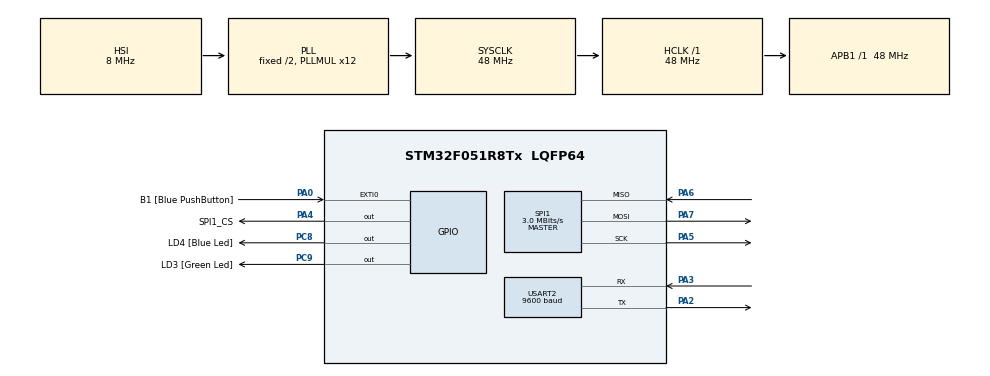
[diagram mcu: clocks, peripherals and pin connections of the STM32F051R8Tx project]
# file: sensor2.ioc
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Dma.Request0=USART2_RX
Dma.Request1=USART2_TX
Dma.USART2_RX.0.Direction=DMA_PERIPH_TO_MEMORY
Dma.USART2_RX.0.Instance=DMA1_Channel5
Dma.USART2_RX.0.MemDataAlignment=DMA_MDATAALIGN_BYTE
Dma.USART2_RX.0.MemInc=DMA_MINC_ENABLE
Dma.USART2_RX.0.Mode=DMA_NORMAL
Dma.USART2_RX.0.PeriphDataAlignment=DMA_PDATAALIGN_BYTE
Dma.USART2_RX.0.PeriphInc=DMA_PINC_DISABLE
Dma.USART2_RX.0.Priority=DMA_PRIORITY_LOW
Dma.USART2_TX.1.Direction=DMA_MEMORY_TO_PERIPH
Dma.USART2_TX.1.Instance=DMA1_Channel4
Dma.USART2_TX.1.MemDataAlignment=DMA_MDATAALIGN_BYTE
Dma.USART2_TX.1.MemInc=DMA_MINC_ENABLE
Dma.USART2_TX.1.Mode=DMA_NORMAL
Dma.USART2_TX.1.PeriphDataAlignment=DMA_PDATAALIGN_BYTE
Dma.USART2_TX.1.PeriphInc=DMA_PINC_DISABLE
Dma.USART2_TX.1.Priority=DMA_PRIORITY_LOW
Mcu.Family=STM32F0
Mcu.Name=STM32F051R8Tx
Mcu.Package=LQFP64
NVIC.DMA1_Channel4_5_IRQn=true\:0\:0\:false\:false\:true\:false\:true\:true
NVIC.USART2_IRQn=true\:0\:0\:false\:false\:true\:true\:true\:true
PA0.GPIO_Label=B1 [Blue PushButton]
PA0.GPIO_ModeDefaultEXTI=GPIO_MODE_EVT_RISING
PA0.Signal=GPXTI0
PA13.GPIO_Label=SWDIO
PA13.Mode=Serial_Wire
PA13.Signal=SYS_SWDIO
PA14.GPIO_Label=SWCLK
PA14.Mode=Serial_Wire
PA14.Signal=SYS_SWCLK
PA2.Mode=Asynchronous
PA2.Signal=USART2_TX
PA3.Mode=Asynchronous
PA3.Signal=USART2_RX
PA4.GPIO_Label=SPI1_CS
PA4.GPIO_Speed=GPIO_SPEED_FREQ_HIGH
PA4.PinState=GPIO_PIN_SET
PA4.Signal=GPIO_Output
PA5.Mode=Full_Duplex_Master
PA5.Signal=SPI1_SCK
PA6.Mode=Full_Duplex_Master
PA6.Signal=SPI1_MISO
PA7.Mode=Full_Duplex_Master
PA7.Signal=SPI1_MOSI
PC8.GPIO_Label=LD4 [Blue Led]
PC8.Signal=GPIO_Output
PC9.GPIO_Label=LD3 [Green Led]
PC9.Signal=GPIO_Output
ProjectManager.HeapSize=0x200
ProjectManager.StackSize=0x400
ProjectManager.TargetToolchain=STM32CubeIDE
RCC.AHBFreq_Value=48000000
RCC.APB1Freq_Value=48000000
RCC.APB1TimFreq_Value=48000000
RCC.HCLKFreq_Value=48000000
RCC.PLLMUL=RCC_PLL_MUL12
RCC.SYSCLKFreq_VALUE=48000000
RCC.SYSCLKSource=RCC_SYSCLKSOURCE_PLLCLK
SPI1.BaudRatePrescaler=SPI_BAUDRATEPRESCALER_16
SPI1.CLKPhase=SPI_PHASE_2EDGE
SPI1.CLKPolarity=SPI_POLARITY_HIGH
SPI1.CalculateBaudRate=3.0 MBits/s
SPI1.DataSize=SPI_DATASIZE_8BIT
SPI1.Direction=SPI_DIRECTION_2LINES
SPI1.Mode=SPI_MODE_MASTER
SPI1.VirtualType=VM_MASTER
USART2.BaudRate=9600
USART2.VirtualMode-Asynchronous=VM_ASYNC
VP_CRC_VS_CRC.Mode=CRC_Activate
board=STM32F0DISCOVERY

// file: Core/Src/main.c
/* USER CODE BEGIN Header */
/**
  ******************************************************************************
  * @file           : main.c
  * @brief          : Main program body
  ******************************************************************************
  * @attention
  *
  * Copyright (c) 2022 STMicroelectronics.
  * All rights reserved.
  *
  * This software is licensed under terms that can be found in the LICENSE file
  * in the root directory of this software component.
  * If no LICENSE file comes with this software, it is provided AS-IS.
  *
  ******************************************************************************
  */
/* USER CODE END Header */
#include "main.h"

/* USER CODE BEGIN Includes */
#include "icm20948.h"
#include "crypto.h"

/* USER CODE END Includes */

/* USER CODE BEGIN PTD */
typedef enum {FAILED = 0, PASSED = !FAILED} TestStatus;
/* USER CODE END PTD */

/* USER CODE BEGIN PD */
#define PLAINTEXT_LENGTH 16
/* USER CODE END PD */

CRC_HandleTypeDef hcrc;

SPI_HandleTypeDef hspi1;

UART_HandleTypeDef huart2;
DMA_HandleTypeDef hdma_usart2_rx;
DMA_HandleTypeDef hdma_usart2_tx;

/* USER CODE BEGIN PV */
axises my_gyro;
axises my_accel;
axises my_mag;
float Temp;
char buffer[100];

const uint8_t Plaintext[PLAINTEXT_LENGTH] =
  {
		  "0.555569"
  };
/* Key to be used for AES encryption/decryption */
uint8_t Key[CRL_AES128_KEY] =
  {
    0x2b, 0x7e, 0x15, 0x16, 0x28, 0xae, 0xd2, 0xa6,
    0xab, 0xf7, 0x15, 0x88, 0x09, 0xcf, 0x4f, 0x3c
  };

/* Initialization Vector, used only in non-ECB modes */
uint8_t IV[CRL_AES_BLOCK] =
  {
      0x00, 0x01, 0x02, 0x03, 0x04, 0x05, 0x06, 0x07,
      0x08, 0x09, 0x0a, 0x0b, 0x0c, 0x0d, 0x0e, 0x0f
  };

uint8_t cipher[PLAINTEXT_LENGTH];

/* Buffer to store the output data */
uint8_t OutputMessage[PLAINTEXT_LENGTH];

/* Size of the output data */
uint32_t OutputMessageLength = 0;
/* USER CODE END PV */

void SystemClock_Config(void);
static void MX_GPIO_Init(void);
static void MX_DMA_Init(void);
static void MX_CRC_Init(void);
static void MX_USART2_UART_Init(void);
static void MX_SPI1_Init(void);
/* USER CODE BEGIN PFP */
int32_t STM32_AES_CFB_Encrypt(uint8_t*  InputMessage,
                        uint32_t  InputMessageLength,
                        uint8_t  *AES128_Key,
                        uint8_t  *InitializationVector,
                        uint32_t  IvLength,
                        uint8_t  *OutputMessage,
                        uint32_t *OutputMessageLength);

int32_t STM32_AES_CFB_Decrypt(uint8_t*  InputMessage,
                        uint32_t  InputMessageLength,
                        uint8_t  *AES128_Key,
                        uint8_t  *InitializationVector,
                        uint32_t  IvLength,
                        uint8_t  *OutputMessage,
                        uint32_t *OutputMessageLength);

TestStatus Buffercmp(const uint8_t* pBuffer,
                     uint8_t* pBuffer1,
                     uint16_t BufferLength);

/* USER CODE END PFP */

int main(void)
{

  /* MCU Configuration--------------------------------------------------------*/

  /* Reset of all peripherals, Initializes the Flash interface and the Systick. */
  HAL_Init();

  /* Configure the system clock */
  SystemClock_Config();

  /* Initialize all configured peripherals */
  MX_GPIO_Init();
  MX_DMA_Init();
  MX_CRC_Init();
  MX_USART2_UART_Init();
  MX_SPI1_Init();
  /* USER CODE BEGIN 2 */
  //HAL_UART_Transmit(&huart2, "Hello \n", 10, 1000);
  icm20948_init();
  ak09916_init();
  /* USER CODE END 2 */

  /* Infinite loop */
  /* USER CODE BEGIN WHILE */
  while (1)
  {

	icm20948_gyro_read_dps(&my_gyro);
	icm20948_accel_read_g(&my_accel);
	//icm20948_accel_read(&my_accel);
	ak09916_mag_read(&my_mag);
	uint32_t timeNow = (float) HAL_GetTick();
	//sprintf(buffer, "%f,%f,%f,%f \r\n",timeNow, my_gyro.x,my_gyro.y,my_gyro.z);
	//sprintf(buffer,"%f,%f,%f,%f \r\n",timeNow,my_accel.x,my_accel.y,my_accel.z);
	sprintf(buffer,"%f,%f,%f,%f \n",timeNow,my_gyro.x,my_gyro.y,my_gyro.z);
	HAL_UART_Transmit(&huart2, buffer, sizeof(buffer), 1000);
	HAL_Delay(500);
    /* USER CODE END WHILE */

  }
}

void SystemClock_Config(void)
{
  RCC_OscInitTypeDef RCC_OscInitStruct = {0};
  RCC_ClkInitTypeDef RCC_ClkInitStruct = {0};

  /** Initializes the RCC Oscillators according to the specified parameters
  * in the RCC_OscInitTypeDef structure.
  */
  RCC_OscInitStruct.OscillatorType = RCC_OSCILLATORTYPE_HSI;
  RCC_OscInitStruct.HSIState = RCC_HSI_ON;
  RCC_OscInitStruct.HSICalibrationValue = RCC_HSICALIBRATION_DEFAULT;
  RCC_OscInitStruct.PLL.PLLState = RCC_PLL_ON;
  RCC_OscInitStruct.PLL.PLLSource = RCC_PLLSOURCE_HSI;
  RCC_OscInitStruct.PLL.PLLMUL = RCC_PLL_MUL12;
  RCC_OscInitStruct.PLL.PREDIV = RCC_PREDIV_DIV1;
  if (HAL_RCC_OscConfig(&RCC_OscInitStruct) != HAL_OK)
  {
    Error_Handler();
  }

  /** Initializes the CPU, AHB and APB buses clocks
  */
  RCC_ClkInitStruct.ClockType = RCC_CLOCKTYPE_HCLK|RCC_CLOCKTYPE_SYSCLK
                              |RCC_CLOCKTYPE_PCLK1;
  RCC_ClkInitStruct.SYSCLKSource = RCC_SYSCLKSOURCE_PLLCLK;
  RCC_ClkInitStruct.AHBCLKDivider = RCC_SYSCLK_DIV1;
  RCC_ClkInitStruct.APB1CLKDivider = RCC_HCLK_DIV1;

  if (HAL_RCC_ClockConfig(&RCC_ClkInitStruct, FLASH_LATENCY_1) != HAL_OK)
  {
    Error_Handler();
  }
}

static void MX_CRC_Init(void)
{

  hcrc.Instance = CRC;
  hcrc.Init.DefaultInitValueUse = DEFAULT_INIT_VALUE_ENABLE;
  hcrc.Init.InputDataInversionMode = CRC_INPUTDATA_INVERSION_NONE;
  hcrc.Init.OutputDataInversionMode = CRC_OUTPUTDATA_INVERSION_DISABLE;
  hcrc.InputDataFormat = CRC_INPUTDATA_FORMAT_BYTES;
  if (HAL_CRC_Init(&hcrc) != HAL_OK)
  {
    Error_Handler();
  }

}

static void MX_SPI1_Init(void)
{

  /* SPI1 parameter configuration*/
  hspi1.Instance = SPI1;
  hspi1.Init.Mode = SPI_MODE_MASTER;
  hspi1.Init.Direction = SPI_DIRECTION_2LINES;
  hspi1.Init.DataSize = SPI_DATASIZE_8BIT;
  hspi1.Init.CLKPolarity = SPI_POLARITY_HIGH;
  hspi1.Init.CLKPhase = SPI_PHASE_2EDGE;
  hspi1.Init.NSS = SPI_NSS_SOFT;
  hspi1.Init.BaudRatePrescaler = SPI_BAUDRATEPRESCALER_16;
  hspi1.Init.FirstBit = SPI_FIRSTBIT_MSB;
  hspi1.Init.TIMode = SPI_TIMODE_DISABLE;
  hspi1.Init.CRCCalculation = SPI_CRCCALCULATION_DISABLE;
  hspi1.Init.CRCPolynomial = 7;
  hspi1.Init.CRCLength = SPI_CRC_LENGTH_DATASIZE;
  hspi1.Init.NSSPMode = SPI_NSS_PULSE_DISABLE;
  if (HAL_SPI_Init(&hspi1) != HAL_OK)
  {
    Error_Handler();
  }

}

static void MX_USART2_UART_Init(void)
{

  huart2.Instance = USART2;
  huart2.Init.BaudRate = 9600;
  huart2.Init.WordLength = UART_WORDLENGTH_8B;
  huart2.Init.StopBits = UART_STOPBITS_1;
  huart2.Init.Parity = UART_PARITY_NONE;
  huart2.Init.Mode = UART_MODE_TX_RX;
  huart2.Init.HwFlowCtl = UART_HWCONTROL_NONE;
  huart2.Init.OverSampling = UART_OVERSAMPLING_16;
  huart2.Init.OneBitSampling = UART_ONE_BIT_SAMPLE_DISABLE;
  huart2.AdvancedInit.AdvFeatureInit = UART_ADVFEATURE_NO_INIT;
  if (HAL_UART_Init(&huart2) != HAL_OK)
  {
    Error_Handler();
  }

}

static void MX_DMA_Init(void)
{

  /* DMA controller clock enable */
  __HAL_RCC_DMA1_CLK_ENABLE();

  /* DMA interrupt init */
  /* DMA1_Channel4_5_IRQn interrupt configuration */
  HAL_NVIC_SetPriority(DMA1_Channel4_5_IRQn, 0, 0);
  HAL_NVIC_EnableIRQ(DMA1_Channel4_5_IRQn);

}

static void MX_GPIO_Init(void)
{
  GPIO_InitTypeDef GPIO_InitStruct = {0};

  /* GPIO Ports Clock Enable */
  __HAL_RCC_GPIOA_CLK_ENABLE();
  __HAL_RCC_GPIOC_CLK_ENABLE();

  /*Configure GPIO pin Output Level */
  HAL_GPIO_WritePin(SPI1_CS_GPIO_Port, SPI1_CS_Pin, GPIO_PIN_SET);

  /*Configure GPIO pin Output Level */
  HAL_GPIO_WritePin(GPIOC, LD4_Pin|LD3_Pin, GPIO_PIN_RESET);

  /*Configure GPIO pin : B1_Pin */
  GPIO_InitStruct.Pin = B1_Pin;
  GPIO_InitStruct.Mode = GPIO_MODE_EVT_RISING;
  GPIO_InitStruct.Pull = GPIO_NOPULL;
  HAL_GPIO_Init(B1_GPIO_Port, &GPIO_InitStruct);

  /*Configure GPIO pin : SPI1_CS_Pin */
  GPIO_InitStruct.Pin = SPI1_CS_Pin;
  GPIO_InitStruct.Mode = GPIO_MODE_OUTPUT_PP;
  GPIO_InitStruct.Pull = GPIO_NOPULL;
  GPIO_InitStruct.Speed = GPIO_SPEED_FREQ_HIGH;
  HAL_GPIO_Init(SPI1_CS_GPIO_Port, &GPIO_InitStruct);

  /*Configure GPIO pins : LD4_Pin LD3_Pin */
  GPIO_InitStruct.Pin = LD4_Pin|LD3_Pin;
  GPIO_InitStruct.Mode = GPIO_MODE_OUTPUT_PP;
  GPIO_InitStruct.Pull = GPIO_NOPULL;
  GPIO_InitStruct.Speed = GPIO_SPEED_FREQ_LOW;
  HAL_GPIO_Init(GPIOC, &GPIO_InitStruct);

}

/* USER CODE BEGIN 4 */
/**
  * @brief  AES CFB Encryption example.
  * @param  InputMessage: pointer to input message to be encrypted.
  * @param  InputMessageLength: input data message length in byte.
  * @param  AES128_Key: pointer to the AES key to be used in the operation
  * @param  InitializationVector: pointer to the Initialization Vector (IV)
  * @param  IvLength: IV length in bytes.
  * @param  OutputMessage: pointer to output parameter that will handle the encrypted message
  * @param  OutputMessageLength: pointer to encrypted message length.
  * @retval error status: can be AES_SUCCESS if success or one of
  *         AES_ERR_BAD_CONTEXT, AES_ERR_BAD_PARAMETER, AES_ERR_BAD_OPERATION
  *         if error occured.
  */
int32_t STM32_AES_CFB_Encrypt(uint8_t* InputMessage,
                        uint32_t InputMessageLength,
                        uint8_t  *AES128_Key,
                        uint8_t  *InitializationVector,
                        uint32_t  IvLength,
                        uint8_t  *OutputMessage,
                        uint32_t *OutputMessageLength)
{
  AESECBctx_stt AESctx;

  uint32_t error_status = AES_SUCCESS;

  int32_t outputLength = 0;

  /* Set flag field to default value */
  AESctx.mFlags = E_SK_DEFAULT;

  /* Set key size to 16 (corresponding to AES-128) */
  AESctx.mKeySize = 16;

  /* Set iv size field to IvLength*/
  AESctx.mIvSize = IvLength;

  /* Initialize the operation, by passing the key.*/
  error_status = AES_CFB_Encrypt_Init(&AESctx, AES128_Key, InitializationVector );

  /* check for initialization errors */
  if (error_status == AES_SUCCESS)
  {
    /* Encrypt Data */
    error_status = AES_CFB_Encrypt_Append(&AESctx,
                                          InputMessage,
                                          InputMessageLength,
                                          OutputMessage,
                                          &outputLength);

    if (error_status == AES_SUCCESS)
    {
      /* Write the number of data written*/
      *OutputMessageLength = outputLength;
      /* Do the Finalization */
      error_status = AES_CFB_Encrypt_Finish(&AESctx, OutputMessage + *OutputMessageLength, &outputLength);
      /* Add data written to the information to be returned */
      *OutputMessageLength += outputLength;
    }
  }

  return error_status;
}

/**
  * @brief  AES CFB Decryption example.
  * @param  InputMessage: pointer to input message to be decrypted.
  * @param  InputMessageLength: input data message length in byte.
  * @param  AES128_Key: pointer to the AES key to be used in the operation
  * @param  InitializationVector: pointer to the Initialization Vector (IV)
  * @param  IvLength: IV length in bytes.
  * @param  OutputMessage: pointer to output parameter that will handle the decrypted message
  * @param  OutputMessageLength: pointer to decrypted message length.
  * @retval error status: can be AES_SUCCESS if success or one of
  *         AES_ERR_BAD_CONTEXT, AES_ERR_BAD_PARAMETER, AES_ERR_BAD_OPERATION
  *         if error occured.
  */
int32_t STM32_AES_CFB_Decrypt(uint8_t* InputMessage,
                        uint32_t InputMessageLength,
                        uint8_t  *AES128_Key,
                        uint8_t  *InitializationVector,
                        uint32_t  IvLength,
                        uint8_t  *OutputMessage,
                        uint32_t *OutputMessageLength)
{
  AESECBctx_stt AESctx;

  uint32_t error_status = AES_SUCCESS;

  int32_t outputLength = 0;

  /* Set flag field to default value */
  AESctx.mFlags = E_SK_DEFAULT;

  /* Set key size to 16 (corresponding to AES-128) */
  AESctx.mKeySize = 16;

  /* Set iv size field to IvLength*/
  AESctx.mIvSize = IvLength;

  /* Initialize the operation, by passing the key. */
  error_status = AES_CFB_Decrypt_Init(&AESctx, AES128_Key, InitializationVector );

  /* check for initialization errors */
  if (error_status == AES_SUCCESS)
  {
    /* Decrypt Data */
    error_status = AES_CFB_Decrypt_Append(&AESctx,
                                          InputMessage,
                                          InputMessageLength,
                                          OutputMessage,
                                          &outputLength);
    if (error_status == AES_SUCCESS)
    {
      /* Write the number of data written*/
      *OutputMessageLength = outputLength;
      /* Do the Finalization */
      error_status = AES_CFB_Decrypt_Finish(&AESctx, OutputMessage + *OutputMessageLength, &outputLength);
      /* Add data written to the information to be returned */
      *OutputMessageLength += outputLength;
    }
  }

  return error_status;
}

/* USER CODE END 4 */

void Error_Handler(void)
{
  __disable_irq();
  while (1)
  {
  }
}
